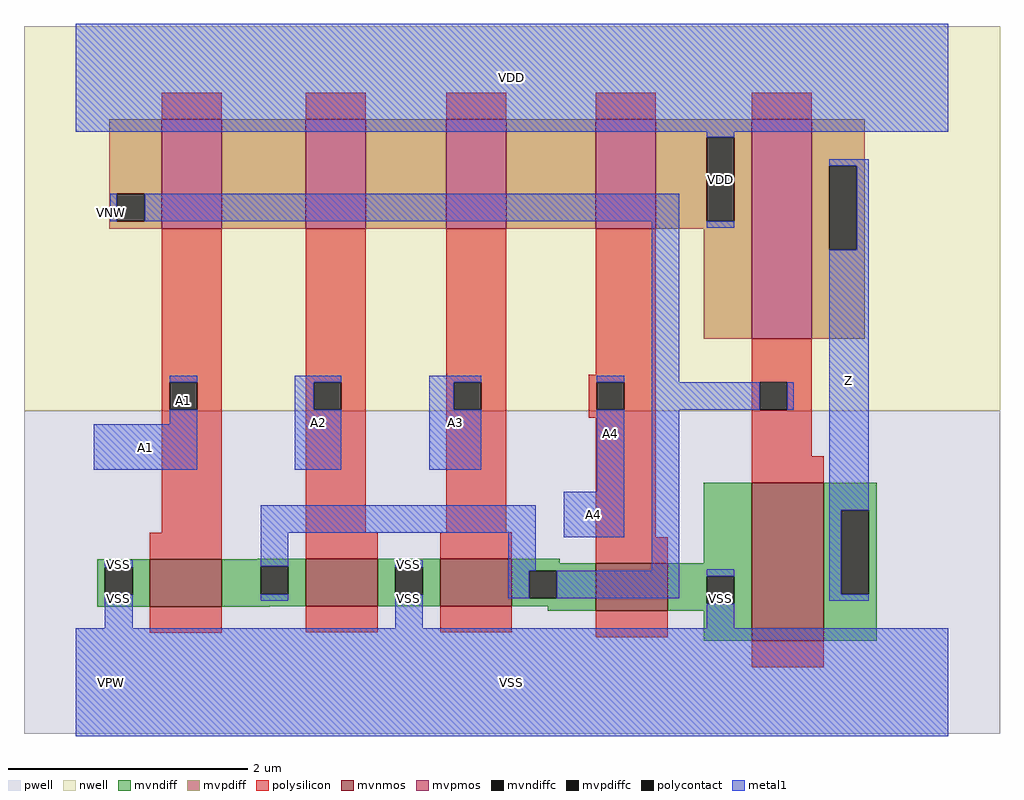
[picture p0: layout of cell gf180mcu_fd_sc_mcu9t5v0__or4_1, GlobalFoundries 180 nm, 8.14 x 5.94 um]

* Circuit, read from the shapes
.subckt gf180mcu_fd_sc_mcu9t5v0__or4_1 A1 A2 A3 A4 Z VDD VNW VPW VSS
XM1 n1 A1 VSS VPW nfet_06v0 w=0.395u l=0.6u
XM2 VSS A2 n1 VPW nfet_06v0 w=0.395u l=0.6u
XM3 n1 A3 VSS VPW nfet_06v0 w=0.395u l=0.6u
XM4 VSS A4 n1 VPW nfet_06v0 w=0.395u l=0.6u
XM5 Z n1 VSS VPW nfet_06v0 w=1.32u l=0.6u
XM6 n2 A1 n1 VNW pfet_06v0 w=0.915u l=0.5u
XM7 n3 A2 n2 VNW pfet_06v0 w=0.915u l=0.5u
XM8 n4 A3 n3 VNW pfet_06v0 w=0.915u l=0.5u
XM9 VDD A4 n4 VNW pfet_06v0 w=0.915u l=0.5u
XM10 Z n1 VDD VNW pfet_06v0 w=1.83u l=0.5u
.ends

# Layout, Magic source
magic
tech gf180mcuD
magscale 1 10
<< nwell >>
rect -86 453 1542 1094
<< pwell >>
rect -86 -86 1542 453
<< mvnmos >>
rect 124 126 244 205
rect 384 127 504 206
rect 608 127 728 206
rect 868 119 988 198
rect 1128 69 1248 333
<< mvpmos >>
rect 144 756 244 939
rect 384 756 484 939
rect 618 756 718 939
rect 868 756 968 939
rect 1128 573 1228 939
<< mvndiff >>
rect 304 205 384 206
rect 36 192 124 205
rect 36 146 49 192
rect 95 146 124 192
rect 36 126 124 146
rect 244 193 384 205
rect 244 147 309 193
rect 355 147 384 193
rect 244 127 384 147
rect 504 192 608 206
rect 504 146 533 192
rect 579 146 608 192
rect 504 127 608 146
rect 728 198 808 206
rect 1048 198 1128 333
rect 728 186 868 198
rect 728 140 757 186
rect 803 140 868 186
rect 728 127 868 140
rect 244 126 324 127
rect 788 119 868 127
rect 988 177 1128 198
rect 988 131 1053 177
rect 1099 131 1128 177
rect 988 119 1128 131
rect 1048 69 1128 119
rect 1248 287 1336 333
rect 1248 147 1277 287
rect 1323 147 1336 287
rect 1248 69 1336 147
<< mvpdiff >>
rect 56 815 144 939
rect 56 769 69 815
rect 115 769 144 815
rect 56 756 144 769
rect 244 756 384 939
rect 484 756 618 939
rect 718 756 868 939
rect 968 909 1128 939
rect 968 769 1053 909
rect 1099 769 1128 909
rect 968 756 1128 769
rect 1048 573 1128 756
rect 1228 861 1316 939
rect 1228 721 1257 861
rect 1303 721 1316 861
rect 1228 573 1316 721
<< mvndiffc >>
rect 49 146 95 192
rect 309 147 355 193
rect 533 146 579 192
rect 757 140 803 186
rect 1053 131 1099 177
rect 1277 147 1323 287
<< mvpdiffc >>
rect 69 769 115 815
rect 1053 769 1099 909
rect 1257 721 1303 861
<< polysilicon >>
rect 144 939 244 983
rect 384 939 484 983
rect 618 939 718 983
rect 868 939 968 983
rect 1128 939 1228 983
rect 144 500 244 756
rect 144 454 157 500
rect 203 454 244 500
rect 144 249 244 454
rect 124 205 244 249
rect 384 500 484 756
rect 384 454 397 500
rect 443 454 484 500
rect 384 250 484 454
rect 618 500 718 756
rect 868 513 968 756
rect 618 454 631 500
rect 677 454 718 500
rect 618 250 718 454
rect 856 500 968 513
rect 856 454 869 500
rect 915 454 968 500
rect 856 441 968 454
rect 384 206 504 250
rect 608 206 728 250
rect 868 242 968 441
rect 1128 500 1228 573
rect 1128 454 1141 500
rect 1187 454 1228 500
rect 1128 377 1228 454
rect 1128 333 1248 377
rect 868 198 988 242
rect 124 82 244 126
rect 384 83 504 127
rect 608 83 728 127
rect 868 75 988 119
rect 1128 25 1248 69
<< polycontact >>
rect 157 454 203 500
rect 397 454 443 500
rect 631 454 677 500
rect 869 454 915 500
rect 1141 454 1187 500
<< metal1 >>
rect 0 918 1456 1098
rect 1053 909 1099 918
rect 58 769 69 815
rect 115 769 1007 815
rect 157 500 203 511
rect 157 430 203 454
rect 30 354 203 430
rect 366 500 443 511
rect 366 454 397 500
rect 366 354 443 454
rect 590 500 677 511
rect 590 454 631 500
rect 590 354 677 454
rect 869 500 915 511
rect 869 318 915 454
rect 309 249 768 295
rect 49 192 95 203
rect 49 90 95 146
rect 309 193 355 249
rect 309 136 355 147
rect 533 192 579 203
rect 533 90 579 146
rect 722 186 768 249
rect 814 242 915 318
rect 961 500 1007 769
rect 1053 758 1099 769
rect 1257 861 1323 872
rect 1303 721 1323 861
rect 961 454 1141 500
rect 1187 454 1198 500
rect 961 186 1007 454
rect 1257 287 1323 721
rect 722 140 757 186
rect 803 140 1007 186
rect 1053 177 1099 188
rect 1257 147 1277 287
rect 1257 136 1323 147
rect 1053 90 1099 131
rect 0 -90 1456 90
<< labels >>
flabel metal1 s 157 430 203 511 0 FreeSans 200 0 0 0 A1
port 1 nsew default input
flabel metal1 s 366 354 443 511 0 FreeSans 200 0 0 0 A2
port 2 nsew default input
flabel metal1 s 590 354 677 511 0 FreeSans 200 0 0 0 A3
port 3 nsew default input
flabel metal1 s 869 318 915 511 0 FreeSans 200 0 0 0 A4
port 4 nsew default input
flabel metal1 s 0 918 1456 1098 0 FreeSans 200 0 0 0 VDD
port 6 nsew power bidirectional abutment
flabel metal1 s 533 188 579 203 0 FreeSans 200 0 0 0 VSS
port 9 nsew ground bidirectional abutment
flabel metal1 s 1257 136 1323 872 0 FreeSans 200 0 0 0 Z
port 5 nsew default output
flabel nwell s 10 734 110 834 0 FreeSans 400 0 0 0 VNW
port 7 nsew power bidirectional
flabel pwell s 10 -50 110 50 0 FreeSans 400 0 0 0 VPW
port 8 nsew ground bidirectional
rlabel metal1 s 30 354 203 430 1 A1
port 1 nsew default input
rlabel metal1 s 814 242 915 318 1 A4
port 4 nsew default input
rlabel metal1 s 1053 758 1099 918 1 VDD
port 6 nsew power bidirectional abutment
rlabel metal1 s 49 188 95 203 1 VSS
port 9 nsew ground bidirectional abutment
rlabel metal1 s 1053 90 1099 188 1 VSS
port 9 nsew ground bidirectional abutment
rlabel metal1 s 533 90 579 188 1 VSS
port 9 nsew ground bidirectional abutment
rlabel metal1 s 49 90 95 188 1 VSS
port 9 nsew ground bidirectional abutment
rlabel metal1 s 0 -90 1456 90 1 VSS
port 9 nsew ground bidirectional abutment
<< properties >>
string FIXED_BBOX 0 0 1456 1008
string GDS_END 292452
string GDS_FILE $PDKPATH/libs.ref/gf180mcu_fd_sc_mcu9t5v0/gds/gf180mcu_fd_sc_mcu9t5v0.gds
string GDS_START 288548
string LEFclass core
string LEFsite GF018hv5v_green_sc9
string LEFsymmetry X Y
string MASKHINTS_DUALGATE -56 1063 1512 1064 -56 987 64 1063 1308 987 1512 1063 -56 708 8 987 -56 329 64 708 1364 525 1512 987 1328 381 1512 525 -56 253 44 329 -56 78 -12 253 -56 2 44 78 1384 21 1512 381 324 2 788 3 -56 -5 788 2 -56 -55 1048 -5 1328 -55 1512 21 -56 -56 1512 -55
string MASKHINTS_NPLUS -40 379 1496 453 -40 365 1082 379 1294 365 1496 379 -40 252 1016 365 -40 251 338 252 -40 237 78 251 774 244 1016 252 -40 94 4 237 -40 80 78 94 290 80 822 81 -40 73 822 80 -40 37 1016 73 1368 37 1496 365 -40 23 1082 37 1294 23 1496 37 -40 -40 1496 23
string MASKHINTS_PPLUS -40 985 1496 1048 -40 971 98 985 1274 971 1496 985 -40 724 24 971 -40 710 98 724 -40 541 1016 710 1348 541 1496 971 -40 527 1082 541 1274 527 1496 541 -40 453 1496 527
<< end >>
